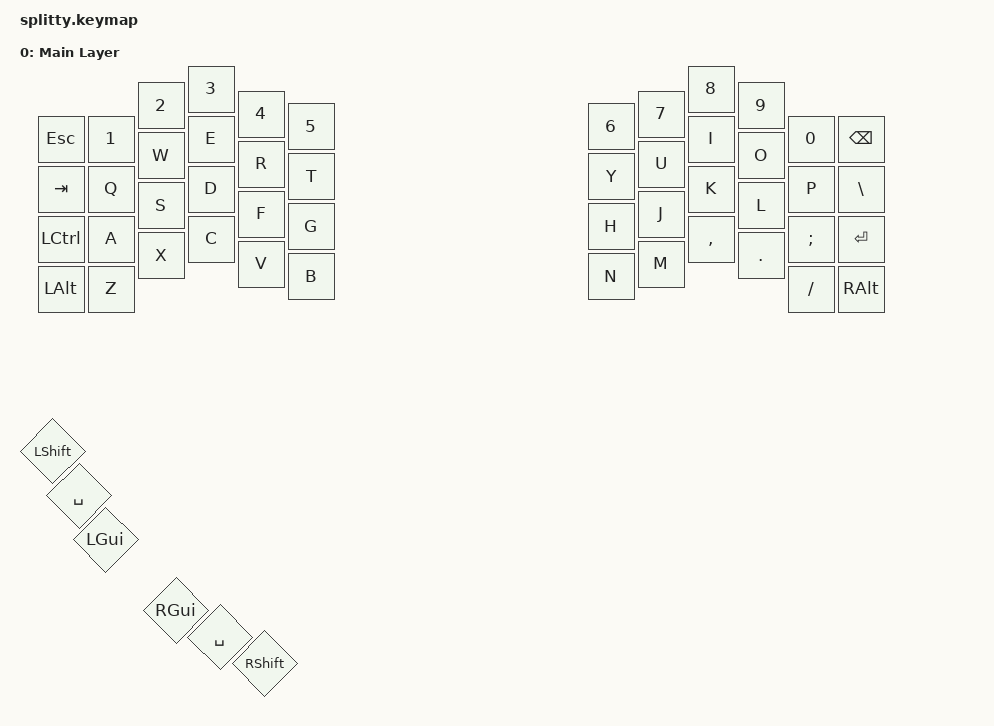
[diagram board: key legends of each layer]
#include <behaviors.dtsi>
#include <dt-bindings/zmk/keys.h>

/ {
  keymap {
    compatible = "zmk,keymap";

    default_layer { 
      display-name = "Main Layer";
      bindings = <
        &kp ESC   &kp N1 &kp N2 &kp N3 &kp N4 &kp N5       &kp N6 &kp N7 &kp N8    &kp N9  &kp N0   &kp BSPC
        &kp TAB   &kp Q  &kp W  &kp E  &kp R  &kp T        &kp Y  &kp U  &kp I     &kp O   &kp P    &kp BSLH
        &kp LCTRL &kp A  &kp S  &kp D  &kp F  &kp G        &kp H  &kp J  &kp K     &kp L   &kp SEMI &kp RET
        &kp LALT  &kp Z  &kp X  &kp C  &kp V  &kp B        &kp N  &kp M  &kp COMMA &kp DOT &kp FSLH &kp RALT
        &kp LSHFT        &kp SPACE     &kp LGUI            &kp RGUI      &kp SPACE         &kp RSHFT
      >;
    };
  };
};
